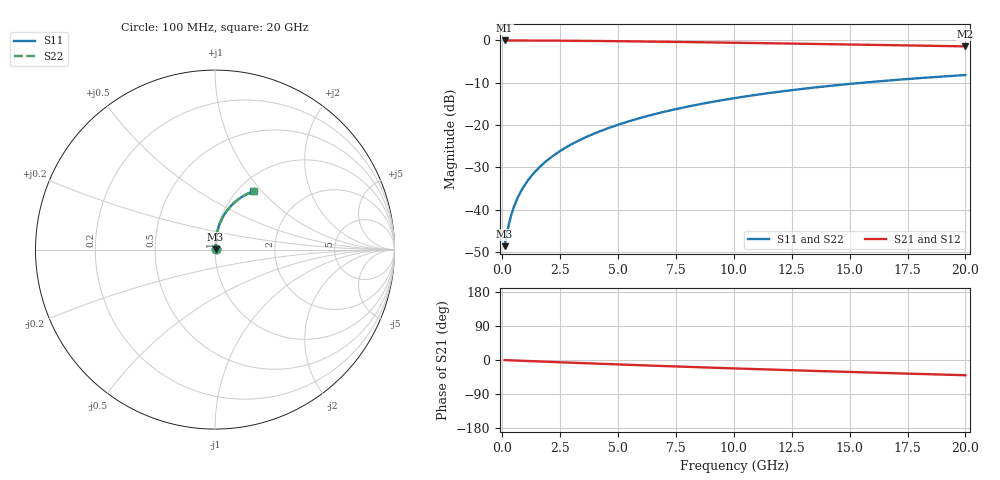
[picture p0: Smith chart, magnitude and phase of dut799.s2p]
! Touchstone file exported from HFSS 2024.1.0
!  File:  C:/UserFiles/LocalFiles/RDL_TSV_Batchsim/temp_RDL_top_799_1779853725.aedt
!  Generated:  11:50:56 AM May 27, 2026
!  Design:  RDL_top
!  Project:  temp_RDL_top_799_1779853725
!  Setup:  Setup1
!  Solution:  Sweep
! Variables:
!  dtsv = 10.80580581um
!  hbump = 3um
!  htsv = 88.55um
!  ldown = 100um
!  lrdl = 531.01um
!  p = 40
!  p1 = 55.19um
!  rhole = 1um
!  t = 450um
!  tdown = 3.915915916um
!  trdl = 3.12um
!  wdown = 15.38538539um
!  wrdl = 21.43um
# GHz S MA R 50.000000
! Terminal data exported
! Port[1] = Box2_T1
! Port[2] = Box2_T2
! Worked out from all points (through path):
!   200 points, 100 MHz to 20 GHz, reference 50 ohm
!   highest |S21| = -0.03 dB at 100 MHz (marker M1); lowest = -1.4 dB at 20 GHz (marker M2)
!   group delay of S21, straight-line fit = 5.55 ps
!   lowest |S11| = -48.6 dB at 100 MHz (marker M3), VSWR 1.01, Z = 50.3 + j0.214 ohm
!   |S11| at or under -10 dB: start of sweep to 15.6 GHz
!   |S22| runs from -48.6 to -8.2 dB; largest |S21 - S12| = 2.6e-15
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0.1  0.003695 35.1  0.997 -0.3  0.997 -0.3  0.003695 35.1
! Gamma 0 0 0 0
! Port Impedance 50 0 50 0
0.2  0.005242 53.2  0.9968 -0.5  0.9968 -0.5  0.005242 53.2
0.3  0.007022 62.1  0.9967 -0.7  0.9967 -0.7  0.007022 62.1
0.4  0.008855 67.3  0.9965 -1.0  0.9965 -1.0  0.008855 67.3
0.5  0.0107 70.7  0.9963 -1.2  0.9963 -1.2  0.0107 70.7
0.6  0.01256 73.1  0.9961 -1.5  0.9961 -1.5  0.01256 73.1
0.8  0.0163 76.4  0.9958 -1.9  0.9958 -1.9  0.0163 76.4
1.1  0.02198 79.4  0.9952 -2.7  0.9952 -2.7  0.02198 79.4
1.3  0.02581 80.6  0.9947 -3.1  0.9947 -3.1  0.02581 80.6
1.6  0.0316 81.8  0.994 -3.9  0.994 -3.9  0.0316 81.8
2.1  0.04138 83.0  0.9924 -5.0  0.9924 -5.0  0.04138 83.0
2.7  0.0533 83.6  0.9901 -6.5  0.9901 -6.5  0.0533 83.5
3.5  0.06948 83.6  0.9862 -8.3  0.9862 -8.3  0.06948 83.6
4.2  0.0839 83.2  0.9822 -9.9  0.9822 -9.9  0.08389 83.2
5  0.1006 82.5  0.9771 -11.7  0.9771 -11.7  0.1006 82.5
5.9  0.1197 81.5  0.9708 -13.7  0.9708 -13.7  0.1197 81.4
6.8  0.1389 80.2  0.964 -15.6  0.964 -15.6  0.1389 80.2
8.4  0.1732 77.6  0.9512 -19.0  0.9512 -19.0  0.1731 77.6
10.1  0.209 74.5  0.9368 -22.4  0.9368 -22.4  0.209 74.5
13.4  0.2754 68.4  0.9079 -28.7  0.9079 -28.7  0.2753 68.3
16.7  0.3356 62.3  0.8784 -34.6  0.8784 -34.6  0.3355 62.3
20  0.389 56.6  0.8489 -40.2  0.8489 -40.2  0.3888 56.5
